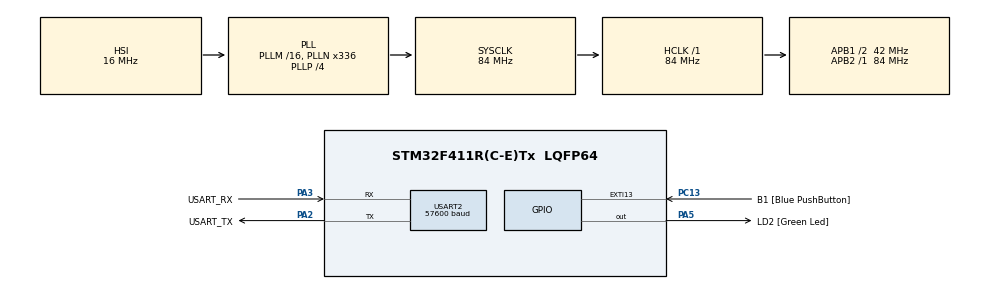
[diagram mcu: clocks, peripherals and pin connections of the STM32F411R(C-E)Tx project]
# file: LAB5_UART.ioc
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Dma.Request0=USART2_RX
Dma.Request1=USART2_TX
Dma.USART2_RX.0.Direction=DMA_PERIPH_TO_MEMORY
Dma.USART2_RX.0.FIFOMode=DMA_FIFOMODE_DISABLE
Dma.USART2_RX.0.Instance=DMA1_Stream5
Dma.USART2_RX.0.MemDataAlignment=DMA_MDATAALIGN_BYTE
Dma.USART2_RX.0.MemInc=DMA_MINC_ENABLE
Dma.USART2_RX.0.Mode=DMA_CIRCULAR
Dma.USART2_RX.0.PeriphDataAlignment=DMA_PDATAALIGN_BYTE
Dma.USART2_RX.0.PeriphInc=DMA_PINC_DISABLE
Dma.USART2_RX.0.Priority=DMA_PRIORITY_LOW
Dma.USART2_TX.1.Direction=DMA_MEMORY_TO_PERIPH
Dma.USART2_TX.1.FIFOMode=DMA_FIFOMODE_DISABLE
Dma.USART2_TX.1.Instance=DMA1_Stream6
Dma.USART2_TX.1.MemDataAlignment=DMA_MDATAALIGN_BYTE
Dma.USART2_TX.1.MemInc=DMA_MINC_ENABLE
Dma.USART2_TX.1.Mode=DMA_NORMAL
Dma.USART2_TX.1.PeriphDataAlignment=DMA_PDATAALIGN_BYTE
Dma.USART2_TX.1.PeriphInc=DMA_PINC_DISABLE
Dma.USART2_TX.1.Priority=DMA_PRIORITY_LOW
Mcu.Family=STM32F4
Mcu.Name=STM32F411R(C-E)Tx
Mcu.Package=LQFP64
NVIC.DMA1_Stream5_IRQn=true\:0\:0\:false\:false\:true\:false\:true\:true
NVIC.DMA1_Stream6_IRQn=true\:0\:0\:false\:false\:true\:false\:true\:true
NVIC.PriorityGroup=NVIC_PRIORITYGROUP_0
PA13.GPIO_Label=TMS
PA13.Mode=Serial_Wire
PA13.Signal=SYS_JTMS-SWDIO
PA14.GPIO_Label=TCK
PA14.Mode=Serial_Wire
PA14.Signal=SYS_JTCK-SWCLK
PA2.GPIO_Label=USART_TX
PA2.Mode=Asynchronous
PA2.Signal=USART2_TX
PA3.GPIO_Label=USART_RX
PA3.Mode=Asynchronous
PA3.Signal=USART2_RX
PA5.GPIO_Label=LD2 [Green Led]
PA5.Signal=GPIO_Output
PB3.GPIO_Label=SWO
PB3.Signal=SYS_JTDO-SWO
PC13-ANTI_TAMP.GPIO_Label=B1 [Blue PushButton]
PC13-ANTI_TAMP.GPIO_ModeDefaultEXTI=GPIO_MODE_IT_FALLING
PC13-ANTI_TAMP.Signal=GPXTI13
PC14-OSC32_IN.Mode=LSE-External-Oscillator
PC14-OSC32_IN.Signal=RCC_OSC32_IN
PC15-OSC32_OUT.Mode=LSE-External-Oscillator
PC15-OSC32_OUT.Signal=RCC_OSC32_OUT
PH0\ -\ OSC_IN.Mode=HSE-External-Clock-Source
PH0\ -\ OSC_IN.Signal=RCC_OSC_IN
PH1\ -\ OSC_OUT.Mode=HSE-External-Clock-Source
PH1\ -\ OSC_OUT.Signal=RCC_OSC_OUT
ProjectManager.HeapSize=0x200
ProjectManager.StackSize=0x400
ProjectManager.TargetToolchain=STM32CubeIDE
RCC.48MHZClocksFreq_Value=84000000
RCC.AHBFreq_Value=84000000
RCC.APB1CLKDivider=RCC_HCLK_DIV2
RCC.APB1Freq_Value=42000000
RCC.APB1TimFreq_Value=84000000
RCC.APB2Freq_Value=84000000
RCC.APB2TimFreq_Value=84000000
RCC.CortexFreq_Value=84000000
RCC.FLatency-AdvancedSettings=FLASH_LATENCY_2
RCC.HCLKFreq_Value=84000000
RCC.HSE_VALUE=8000000
RCC.HSI_VALUE=16000000
RCC.PLLN=336
RCC.PLLP=RCC_PLLP_DIV4
RCC.SYSCLKFreq_VALUE=84000000
RCC.SYSCLKSource=RCC_SYSCLKSOURCE_PLLCLK
RCC.VCOOutputFreq_Value=336000000
USART2.BaudRate=57600
USART2.VirtualMode=VM_ASYNC
board=NUCLEO-F411RE

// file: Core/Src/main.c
/* USER CODE BEGIN Header */
/**
  ******************************************************************************
  * @file           : main.c
  * @brief          : Main program body
  ******************************************************************************
  * @attention
  *
  * Copyright (c) 2023 STMicroelectronics.
  * All rights reserved.
  *
  * This software is licensed under terms that can be found in the LICENSE file
  * in the root directory of this software component.
  * If no LICENSE file comes with this software, it is provided AS-IS.
  *
  ******************************************************************************
  */
/* USER CODE END Header */
#include "main.h"

/* USER CODE BEGIN Includes */
#include "stdio.h"
#include "string.h"
/* USER CODE END Includes */

UART_HandleTypeDef huart2;
DMA_HandleTypeDef hdma_usart2_rx;
DMA_HandleTypeDef hdma_usart2_tx;

/* USER CODE BEGIN PV */
uint8_t text[200];
uint8_t RxBuffer[20];
uint8_t TxBuffer[40];
enum State {INIT, LED_CONTROL, BUTTON_STATUS};
enum State processState = INIT;

typedef struct ButtonStatus
{
	int8_t Command;
	int8_t CurrentStatus;
	int8_t PreviousStatus;
}Button;
Button button1 = {0};

typedef struct LEDStatus
{
	uint16_t Frequency;
	int8_t   OnOffStatus;
}LED;
LED led = {50,0};

/* USER CODE END PV */

void SystemClock_Config(void);
static void MX_GPIO_Init(void);
static void MX_DMA_Init(void);
static void MX_USART2_UART_Init(void);
/* USER CODE BEGIN PFP */
void UARTDMAConfig();
void ButtonUpdate();
void LEDOnOff(uint16_t Hz,int8_t status);
void Process();

/* USER CODE END PFP */

int main(void)
{

  /* MCU Configuration--------------------------------------------------------*/

  /* Reset of all peripherals, Initializes the Flash interface and the Systick. */
  HAL_Init();

  /* Configure the system clock */
  SystemClock_Config();

  /* Initialize all configured peripherals */
  MX_GPIO_Init();
  MX_DMA_Init();
  MX_USART2_UART_Init();
  /* USER CODE BEGIN 2 */
  UARTDMAConfig();
  /* USER CODE END 2 */

  /* Infinite loop */
  while (1)
  {

    /* USER CODE BEGIN 3 */
	static uint16_t timestamp = 0;
	if(HAL_GetTick() >= timestamp)
	{
		timestamp = HAL_GetTick() + 50;
		ButtonUpdate();
		Process();
	}
	LEDOnOff(led.Frequency, led.OnOffStatus);

  }
  /* USER CODE END 3 */
}

void SystemClock_Config(void)
{
  RCC_OscInitTypeDef RCC_OscInitStruct = {0};
  RCC_ClkInitTypeDef RCC_ClkInitStruct = {0};

  /** Configure the main internal regulator output voltage
  */
  __HAL_RCC_PWR_CLK_ENABLE();
  __HAL_PWR_VOLTAGESCALING_CONFIG(PWR_REGULATOR_VOLTAGE_SCALE1);

  /** Initializes the RCC Oscillators according to the specified parameters
  * in the RCC_OscInitTypeDef structure.
  */
  RCC_OscInitStruct.OscillatorType = RCC_OSCILLATORTYPE_HSI;
  RCC_OscInitStruct.HSIState = RCC_HSI_ON;
  RCC_OscInitStruct.HSICalibrationValue = RCC_HSICALIBRATION_DEFAULT;
  RCC_OscInitStruct.PLL.PLLState = RCC_PLL_ON;
  RCC_OscInitStruct.PLL.PLLSource = RCC_PLLSOURCE_HSI;
  RCC_OscInitStruct.PLL.PLLM = 16;
  RCC_OscInitStruct.PLL.PLLN = 336;
  RCC_OscInitStruct.PLL.PLLP = RCC_PLLP_DIV4;
  RCC_OscInitStruct.PLL.PLLQ = 4;
  if (HAL_RCC_OscConfig(&RCC_OscInitStruct) != HAL_OK)
  {
    Error_Handler();
  }

  /** Initializes the CPU, AHB and APB buses clocks
  */
  RCC_ClkInitStruct.ClockType = RCC_CLOCKTYPE_HCLK|RCC_CLOCKTYPE_SYSCLK
                              |RCC_CLOCKTYPE_PCLK1|RCC_CLOCKTYPE_PCLK2;
  RCC_ClkInitStruct.SYSCLKSource = RCC_SYSCLKSOURCE_PLLCLK;
  RCC_ClkInitStruct.AHBCLKDivider = RCC_SYSCLK_DIV1;
  RCC_ClkInitStruct.APB1CLKDivider = RCC_HCLK_DIV2;
  RCC_ClkInitStruct.APB2CLKDivider = RCC_HCLK_DIV1;

  if (HAL_RCC_ClockConfig(&RCC_ClkInitStruct, FLASH_LATENCY_2) != HAL_OK)
  {
    Error_Handler();
  }
}

static void MX_USART2_UART_Init(void)
{

  huart2.Instance = USART2;
  huart2.Init.BaudRate = 57600;
  huart2.Init.WordLength = UART_WORDLENGTH_8B;
  huart2.Init.StopBits = UART_STOPBITS_1;
  huart2.Init.Parity = UART_PARITY_NONE;
  huart2.Init.Mode = UART_MODE_TX_RX;
  huart2.Init.HwFlowCtl = UART_HWCONTROL_NONE;
  huart2.Init.OverSampling = UART_OVERSAMPLING_16;
  if (HAL_UART_Init(&huart2) != HAL_OK)
  {
    Error_Handler();
  }

}

static void MX_DMA_Init(void)
{

  /* DMA controller clock enable */
  __HAL_RCC_DMA1_CLK_ENABLE();

  /* DMA interrupt init */
  /* DMA1_Stream5_IRQn interrupt configuration */
  HAL_NVIC_SetPriority(DMA1_Stream5_IRQn, 0, 0);
  HAL_NVIC_EnableIRQ(DMA1_Stream5_IRQn);
  /* DMA1_Stream6_IRQn interrupt configuration */
  HAL_NVIC_SetPriority(DMA1_Stream6_IRQn, 0, 0);
  HAL_NVIC_EnableIRQ(DMA1_Stream6_IRQn);

}

static void MX_GPIO_Init(void)
{
  GPIO_InitTypeDef GPIO_InitStruct = {0};

  /* GPIO Ports Clock Enable */
  __HAL_RCC_GPIOC_CLK_ENABLE();
  __HAL_RCC_GPIOH_CLK_ENABLE();
  __HAL_RCC_GPIOA_CLK_ENABLE();
  __HAL_RCC_GPIOB_CLK_ENABLE();

  /*Configure GPIO pin Output Level */
  HAL_GPIO_WritePin(LD2_GPIO_Port, LD2_Pin, GPIO_PIN_RESET);

  /*Configure GPIO pin : B1_Pin */
  GPIO_InitStruct.Pin = B1_Pin;
  GPIO_InitStruct.Mode = GPIO_MODE_IT_FALLING;
  GPIO_InitStruct.Pull = GPIO_NOPULL;
  HAL_GPIO_Init(B1_GPIO_Port, &GPIO_InitStruct);

  /*Configure GPIO pin : LD2_Pin */
  GPIO_InitStruct.Pin = LD2_Pin;
  GPIO_InitStruct.Mode = GPIO_MODE_OUTPUT_PP;
  GPIO_InitStruct.Pull = GPIO_NOPULL;
  GPIO_InitStruct.Speed = GPIO_SPEED_FREQ_LOW;
  HAL_GPIO_Init(LD2_GPIO_Port, &GPIO_InitStruct);

}

/* USER CODE BEGIN 4 */
void UARTDMAConfig()
{
	//Start UART in DMA mode
	HAL_UART_Receive_DMA(&huart2, RxBuffer, 1);
}

void HAL_UART_RXCpltCallback(UART_HandleTypeDef *huart)
{
	if(huart == &huart2)
		{
			//Add str stop symbol \0 to the end of str
			RxBuffer[1] = '\0';
			//Return received chars
			sprintf((char*)TxBuffer, "Recieved Command: %s\r\n", RxBuffer);
			HAL_UART_Transmit(&huart2, TxBuffer, strlen((char*)TxBuffer), 10);
		}
}

void ButtonUpdate()
{
	button1.CurrentStatus =  HAL_GPIO_ReadPin(GPIOC, GPIO_PIN_13);
}

void LEDOnOff(uint16_t Hz,int8_t status)
{
	static uint32_t timestampLED = 0;
	if(status == 1)
	{
		if(HAL_GetTick() >= timestampLED)
		{
			timestampLED = HAL_GetTick() + Hz;
			HAL_GPIO_TogglePin(LD2_GPIO_Port, LD2_Pin);
		}
	}
	else
	{
		HAL_GPIO_WritePin(GPIOA, GPIO_PIN_5, 0);
		timestampLED = 0;
	}

}

void Process()
{
	switch(processState)
	{
	case INIT:
//		sprintf((char*)text, "-----Main Menu-----\r\n");
//		HAL_UART_Transmit(&huart2, text, strlen((char*)text), 50);

		if(RxBuffer[0] == '0')
		{
			processState = LED_CONTROL;
		}
		else if(RxBuffer[0] == '1')
		{
			processState = BUTTON_STATUS;
		}
//		else
//		{
//			sprintf((char*)text, "Not a command.\r\n");
//			HAL_UART_Transmit(&huart2, text, strlen((char*)text), 10);
//			processState = INIT;
//		}
	break;

	case LED_CONTROL:
		sprintf((char*)text, "MODE : BUTTON STATUS\r\n");
		HAL_UART_Transmit(&huart2, text, strlen((char*)text), 10);
		if(RxBuffer[0] == 'x')
		{
			processState = INIT;
		}
		else if(RxBuffer[0] == 'a')
		{
			led.Frequency += 1;
			processState = LED_CONTROL;
		}
		else if(RxBuffer[0] == 's')
		{
			if(led.Frequency > 0)
			{
				led.Frequency -= 1;
			}
			else
			{
				sprintf((char*)text, "Frequency can not less than zero.\r\n");
				HAL_UART_Transmit(&huart2, text, strlen((char*)text), 10);
			}
			processState = LED_CONTROL;
		}
		else if(RxBuffer[0] == 'd')
		{
			led.OnOffStatus = ~led.OnOffStatus;
			processState = LED_CONTROL;
		}
		else
		{
			sprintf((char*)text, "Not a command.\r\n");
			HAL_UART_Transmit(&huart2, text, strlen((char*)text), 10);
			processState = LED_CONTROL;
		}

	break;

	case BUTTON_STATUS:
		sprintf((char*)text, "MODE : BUTTON STATUS\r\n");
		HAL_UART_Transmit(&huart2, text, strlen((char*)text), 10);
		if(button1.CurrentStatus == 1)
		{
			sprintf((char*)text, "Button Status : Press ");
			HAL_UART_Transmit(&huart2, text, strlen((char*)text), 10);
			processState = BUTTON_STATUS;
		}
		else if(button1.CurrentStatus == 0)
		{
			sprintf((char*)text, "Button Status : Unpress ");
			HAL_UART_Transmit(&huart2, text, strlen((char*)text), 10);
			processState = BUTTON_STATUS;
		}
		else
		{
			sprintf((char*)text, "Not a command.\r\n");
			HAL_UART_Transmit(&huart2, text, strlen((char*)text), 10);
			processState = BUTTON_STATUS;
		}

		if(RxBuffer[0] == 'x')
		{
			processState = INIT;
		}

	break;
	}

}
/* USER CODE END 4 */

void Error_Handler(void)
{
  __disable_irq();
  while (1)
  {
  }
}
